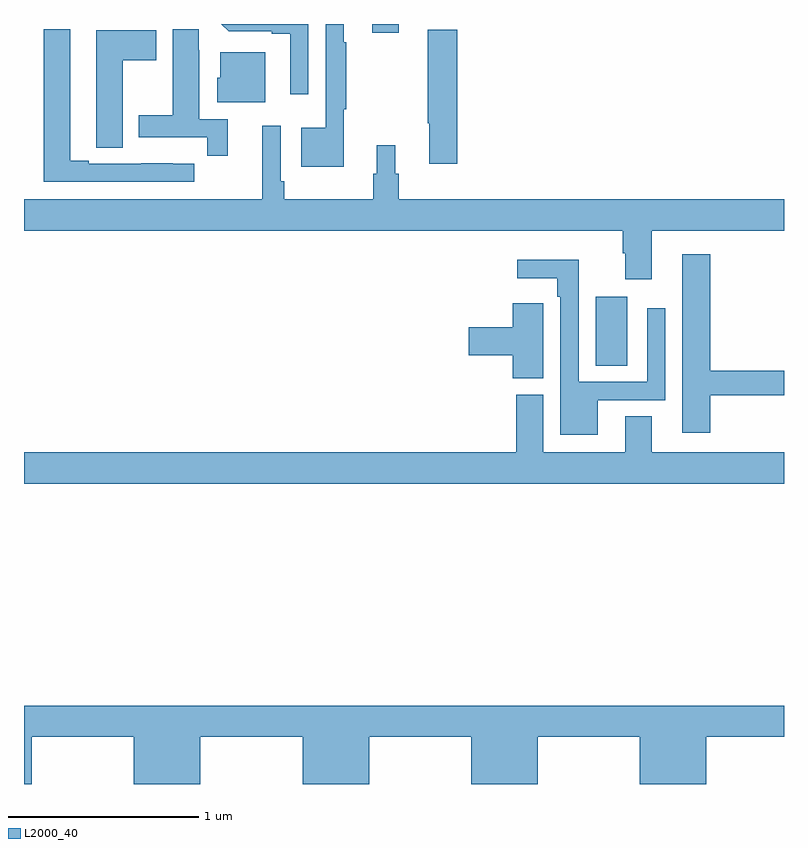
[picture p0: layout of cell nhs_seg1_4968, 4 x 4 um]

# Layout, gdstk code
import gdstk
lib = gdstk.Library(unit=1e-6, precision=1e-09)
def R(c, l, rs):  # rectangles x0, y0, x1, y1
    for r in rs: c.add(gdstk.rectangle(r[:2], r[2:], *l))
def P(c, l, *ps):  # polygons
    for p in ps: c.add(gdstk.Polygon(p, *l))
L2000_40 = (2000, 40)

nhs_seg1_4968 = lib.new_cell('nhs_seg1_4968')
R(nhs_seg1_4968, L2000_40, [(384.008,504.4,384.175,504.763), (382.832,506.154,382.972,506.199)])
P(nhs_seg1_4968, L2000_40, [(382.497,506.199),(382.038,506.199),(382.077,506.16),(382.304,506.16),(382.304,506.148),(382.4,506.148),(382.4,505.83),(382.497,505.83)],
  [(382.684,505.75),(382.696,505.75),(382.696,506.102),(382.684,506.102),(382.684,506.199),(382.587,506.199),(382.587,505.654),(382.46,505.654),(382.46,505.448),(382.684,505.448)],
  [(382.073,505.698),(381.922,505.698),(381.922,506.06),(381.921,506.06),(381.921,506.171),(381.782,506.171),(381.782,505.719),(381.605,505.719),(381.605,505.602),(381.964,505.602),(381.964,505.506),(382.073,505.506)],
  [(381.895,505.464),(381.782,505.464),(381.782,505.465),(381.616,505.465),(381.616,505.464),(381.34,505.464),(381.34,505.479),(381.244,505.479),(381.244,506.171),(381.104,506.171),(381.104,505.368),(381.895,505.368)],
  [(383.279,506.17),(383.125,506.17),(383.125,505.676),(383.132,505.676),(383.132,505.464),(383.279,505.464)],
  [(381.52,506.008),(381.697,506.008),(381.697,506.167),(381.38,506.167),(381.38,505.657),(381.381,505.657),(381.381,505.549),(381.52,505.549)],
  [(382.27,506.05),(382.034,506.05),(382.034,505.917),(382.016,505.917),(382.016,505.787),(382.27,505.787)],
  [(384.304,505.112),(385,505.112),(385,505.276),(382.973,505.276),(382.973,505.41),(382.954,505.41),(382.954,505.561),(382.856,505.561),(382.856,505.41),(382.837,505.41),(382.837,505.276),(382.37,505.276),(382.37,505.372),(382.35,505.372),(382.35,505.663),(382.253,505.663),(382.253,505.276),(381,505.276),(381,505.112),(384.152,505.112),(384.152,504.992),(384.164,504.992),(384.164,504.855),(384.304,504.855)],
  [(384.611,504.246),(385,504.246),(385,504.374),(384.611,504.374),(384.611,504.988),(384.464,504.988),(384.464,504.048),(384.611,504.048)],
  [(384.019,504.219),(384.375,504.219),(384.375,504.703),(384.279,504.703),(384.279,504.315),(383.919,504.315),(383.919,504.958),(383.595,504.958),(383.595,504.86),(383.807,504.86),(383.807,504.764),(383.823,504.764),(383.823,504.038),(384.019,504.038)],
  [(383.734,504.617),(383.733,504.617),(383.733,504.73),(383.573,504.73),(383.573,504.602),(383.34,504.602),(383.34,504.455),(383.573,504.455),(383.573,504.334),(383.734,504.334)],
  [(385,503.944),(384.304,503.944),(384.304,504.134),(384.164,504.134),(384.164,503.944),(383.734,503.944),(383.734,504.249),(383.591,504.249),(383.591,503.944),(381,503.944),(381,503.78),(385,503.78)],
  [(381.04,502.448),(381.578,502.448),(381.578,502.199),(381.928,502.199),(381.928,502.448),(382.466,502.448),(382.466,502.199),(382.816,502.199),(382.816,502.448),(383.354,502.448),(383.354,502.199),(383.704,502.199),(383.704,502.448),(384.242,502.448),(384.242,502.199),(384.592,502.199),(384.592,502.448),(385,502.448),(385,502.612),(381,502.612),(381,502.199),(381.04,502.199)])

lib.write_gds('nhs_seg1_4968.gds')
